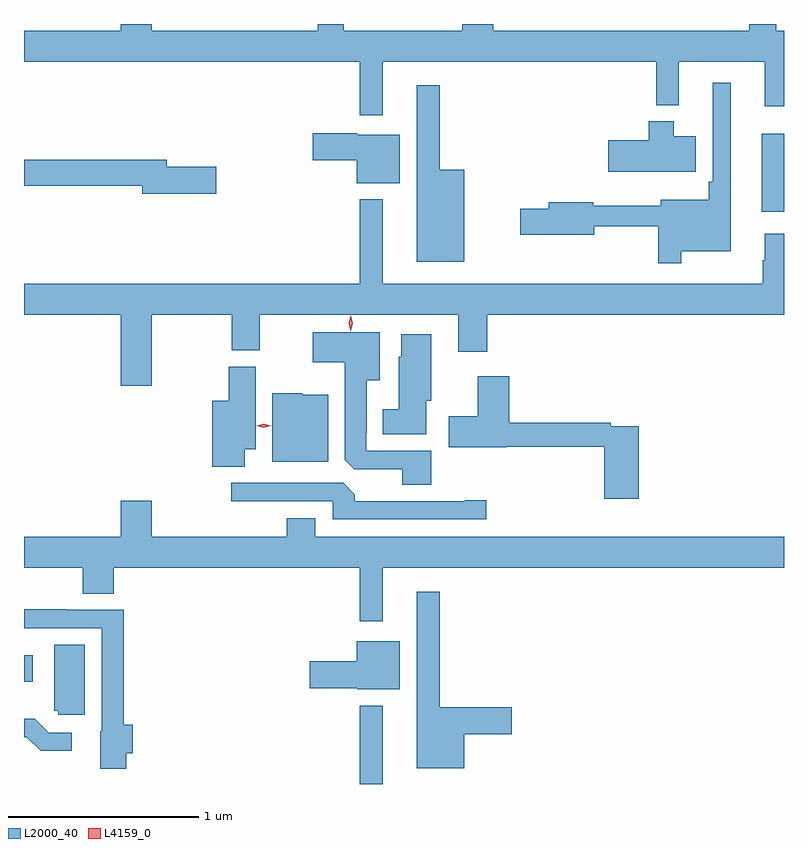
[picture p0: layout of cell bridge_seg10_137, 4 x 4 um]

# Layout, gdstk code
import gdstk
lib = gdstk.Library(unit=1e-6, precision=1e-09)
def R(c, l, rs):  # rectangles x0, y0, x1, y1
    for r in rs: c.add(gdstk.rectangle(r[:2], r[2:], *l))
def P(c, l, *ps):  # polygons
    for p in ps: c.add(gdstk.Polygon(p, *l))
L2000_40 = (2000, 40)
L4159_0 = (4159, 0)

bridge_seg10_137 = lib.new_cell('bridge_seg10_137')
R(bridge_seg10_137, L2000_40, [(346.086,1297.847,346.207,1298.26), (344.319,1298.384,344.365,1298.524), (348.203,1300.859,348.319,1301.269)])
P(bridge_seg10_137, L2000_40, [(346.207,1301.648),(347.647,1301.648),(347.647,1301.42),(347.765,1301.42),(347.765,1301.648),(348.218,1301.648),(348.218,1301.415),(348.319,1301.415),(348.319,1301.812),(348.277,1301.812),(348.277,1301.847),(348.137,1301.847),(348.137,1301.812),(346.79,1301.812),(346.79,1301.847),(346.625,1301.847),(346.625,1301.812),(346.001,1301.812),(346.001,1301.847),(345.865,1301.847),(345.865,1301.812),(344.992,1301.812),(344.992,1301.847),(344.828,1301.847),(344.828,1301.812),(344.319,1301.812),(344.319,1301.648),(346.086,1301.648),(346.086,1301.367),(346.207,1301.367)],
  [(347.779,1300.652),(348.04,1300.652),(348.04,1301.539),(347.943,1301.539),(347.943,1301.017),(347.923,1301.017),(347.923,1300.921),(347.669,1300.921),(347.669,1300.891),(347.316,1300.891),(347.316,1300.91),(347.081,1300.91),(347.081,1300.874),(346.932,1300.874),(346.932,1300.739),(347.32,1300.739),(347.32,1300.782),(347.658,1300.782),(347.658,1300.587),(347.779,1300.587)],
  [(346.636,1301.08),(346.507,1301.08),(346.507,1301.524),(346.385,1301.524),(346.385,1300.595),(346.636,1300.595)],
  [(347.854,1301.257),(347.74,1301.257),(347.74,1301.335),(347.606,1301.335),(347.606,1301.235),(347.394,1301.235),(347.394,1301.069),(347.854,1301.069)],
  [(346.297,1301.263),(346.074,1301.263),(346.074,1301.271),(345.84,1301.271),(345.84,1301.129),(346.07,1301.129),(346.07,1301.009),(346.297,1301.009)],
  [(345.331,1301.096),(345.07,1301.096),(345.07,1301.132),(344.319,1301.132),(344.319,1300.996),(344.942,1300.996),(344.942,1300.954),(345.331,1300.954)],
  [(346.604,1300.122),(346.757,1300.122),(346.757,1300.316),(348.319,1300.316),(348.319,1300.744),(348.218,1300.744),(348.218,1300.604),(348.207,1300.604),(348.207,1300.48),(346.207,1300.48),(346.207,1300.924),(346.086,1300.924),(346.086,1300.48),(344.319,1300.48),(344.319,1300.316),(344.828,1300.316),(344.828,1299.942),(344.992,1299.942),(344.992,1300.316),(345.412,1300.316),(345.412,1300.129),(345.559,1300.129),(345.559,1300.316),(346.604,1300.316)],
  [(346.463,1299.6),(346.119,1299.6),(346.119,1299.697),(346.123,1299.697),(346.123,1299.971),(346.192,1299.971),(346.192,1300.225),(345.84,1300.225),(345.84,1300.067),(346.007,1300.067),(346.007,1299.553),(346.056,1299.504),(346.31,1299.504),(346.31,1299.421),(346.463,1299.421)],
  [(346.435,1299.864),(346.462,1299.864),(346.462,1300.213),(346.304,1300.213),(346.304,1300.095),(346.292,1300.095),(346.292,1299.82),(346.208,1299.82),(346.208,1299.689),(346.435,1299.689)],
  [(345.481,1299.608),(345.538,1299.608),(345.538,1300.044),(345.397,1300.044),(345.397,1299.865),(345.311,1299.865),(345.311,1299.517),(345.481,1299.517)],
  [(347.555,1299.729),(347.408,1299.729),(347.408,1299.749),(346.874,1299.749),(346.874,1299.994),(346.706,1299.994),(346.706,1299.783),(346.554,1299.783),(346.554,1299.62),(346.857,1299.62),(346.857,1299.621),(347.372,1299.621),(347.372,1299.348),(347.555,1299.348)],
  [(345.919,1299.895),(345.783,1299.895),(345.783,1299.904),(345.626,1299.904),(345.626,1299.542),(345.919,1299.542)],
  [(346.753,1299.341),(346.64,1299.341),(346.64,1299.336),(346.061,1299.336),(346.061,1299.37),(345.999,1299.432),(345.411,1299.432),(345.411,1299.336),(345.945,1299.336),(345.945,1299.24),(346.753,1299.24)],
  [(345.853,1299.247),(345.701,1299.247),(345.701,1299.148),(344.992,1299.148),(344.992,1299.337),(344.828,1299.337),(344.828,1299.148),(344.319,1299.148),(344.319,1298.984),(344.627,1298.984),(344.627,1298.848),(344.792,1298.848),(344.792,1298.984),(346.086,1298.984),(346.086,1298.703),(346.207,1298.703),(346.207,1298.984),(348.319,1298.984),(348.319,1299.148),(345.853,1299.148)],
  [(346.636,1298.11),(346.885,1298.11),(346.885,1298.252),(346.507,1298.252),(346.507,1298.86),(346.385,1298.86),(346.385,1297.931),(346.636,1297.931)],
  [(344.856,1298.01),(344.891,1298.01),(344.891,1298.159),(344.843,1298.159),(344.843,1298.763),(344.543,1298.763),(344.543,1298.766),(344.319,1298.766),(344.319,1298.667),(344.727,1298.667),(344.727,1298.124),(344.72,1298.124),(344.72,1297.928),(344.856,1297.928)],
  [(346.297,1298.599),(346.07,1298.599),(346.07,1298.493),(345.822,1298.493),(345.822,1298.351),(346.074,1298.351),(346.074,1298.345),(346.297,1298.345)],
  [(344.638,1298.581),(344.477,1298.581),(344.477,1298.232),(344.499,1298.232),(344.499,1298.211),(344.638,1298.211)],
  [(344.569,1298.118),(344.448,1298.118),(344.375,1298.191),(344.319,1298.191),(344.319,1298.094),(344.334,1298.094),(344.407,1298.021),(344.569,1298.021)])
P(bridge_seg10_137, L4159_0, [(346.039,1300.23),(346.039,1300.23),(346.029,1300.271),(346.039,1300.311),(346.039,1300.311),(346.039,1300.311),(346.049,1300.271),(346.039,1300.23)],
  [(345.582,1299.723),(345.545,1299.732),(345.545,1299.732),(345.545,1299.733),(345.582,1299.742),(345.618,1299.733),(345.619,1299.733),(345.618,1299.732)])

lib.write_gds('bridge_seg10_137.gds')
